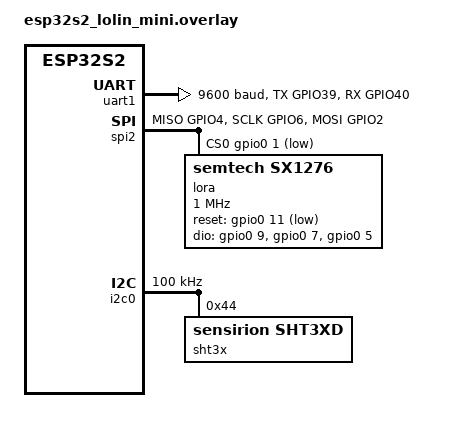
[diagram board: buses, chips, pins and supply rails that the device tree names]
/ {
	aliases {
		pms-uart = &uart1;
        lora-radio = &lora;
        sht3x-sensor = &sht3x;
	};
};

&uart1 {
	status = "okay";
	current-speed = <9600>;
	pinctrl-0 = <&uart1_default>;
	pinctrl-names = "default";
};

&pinctrl {
	uart0_default: uart0_default {
		group1 {
			pinmux = <UART0_TX_GPIO16>;
			output-high;
		};
		group2 {
			pinmux = <UART0_RX_GPIO17>;
			bias-pull-up;
		};
	};

    uart1_default: uart1_default {
		group1 {
			pinmux = <UART1_TX_GPIO39>;
			output-high;
		};
		group2 {
			pinmux = <UART1_RX_GPIO40>;
			bias-pull-up;
		};
	};

    spim2_default: spim2_default {
		group1 {
			pinmux = <SPIM2_MISO_GPIO4>,
				 <SPIM2_SCLK_GPIO6>;
		};
		group2 {
			pinmux = <SPIM2_MOSI_GPIO2>;
			output-low;
		};
	};

    i2c0_default: i2c0_default {
		group1 {
			pinmux = <I2C0_SDA_GPIO35>,
				 <I2C0_SCL_GPIO37>;
			bias-pull-up;
			drive-open-drain;
			output-high;
		};
	};
};

&spi2 {
	#address-cells = <1>;
	#size-cells = <0>;
	status = "okay";
	pinctrl-0 = <&spim2_default>;
	pinctrl-names = "default";

    cs-gpios = <&gpio0 1 GPIO_ACTIVE_LOW>;

	lora: lora@0 {
		compatible = "semtech,sx1276";
		reg = <0x0>;
		spi-max-frequency = <DT_FREQ_M(1)>;

		reset-gpios = <&gpio0 11 GPIO_ACTIVE_LOW>;   /* A0 */

		dio-gpios = <&gpio0 9 (GPIO_PULL_DOWN | GPIO_ACTIVE_HIGH)>,	   /* DIO0 is D2 */
		            <&gpio0 7 (GPIO_PULL_DOWN | GPIO_ACTIVE_HIGH)>,	   /* DIO1 is D3 */
			    <&gpio0 5 (GPIO_PULL_DOWN | GPIO_ACTIVE_HIGH)>;
        power-amplifier-output = "pa-boost";
	};
};

&i2c0 {
	status = "okay";
	clock-frequency = <I2C_BITRATE_STANDARD>;
	pinctrl-0 = <&i2c0_default>;
	pinctrl-names = "default";

    sht3x: sht3xd@44 {
		compatible = "sensirion,sht3xd";
		reg = <0x44>;
	};
};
